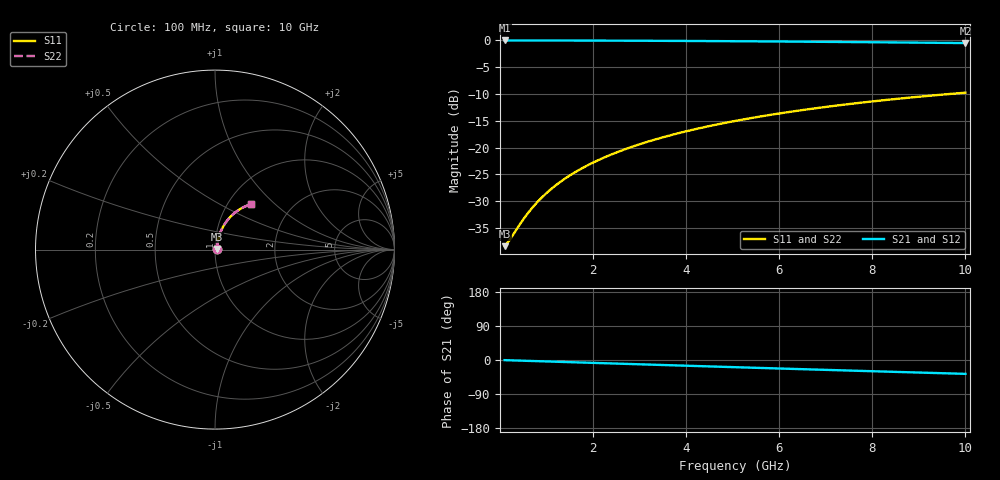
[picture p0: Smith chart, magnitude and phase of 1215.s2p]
# Hz S RI R 50.00
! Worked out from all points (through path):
!   100 points, 100 MHz to 10 GHz, reference 50 ohm
!   highest |S21| = -0.10 dB at 100 MHz (marker M1); lowest = -0.6 dB at 10 GHz (marker M2)
!   group delay of S21, straight-line fit = 10.2 ps
!   lowest |S11| = -38.3 dB at 100 MHz (marker M3), VSWR 1.02, Z = 51.2 + j0.36 ohm
!   |S11| at or under -10 dB: start of sweep to 9.726 GHz
!   |S22| runs from -38.3 to -9.8 dB; largest |S21 - S12| = 0
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1e8  0.0116 0.00352  0.9884 -0.00654  0.9884 -0.00654  0.0116 0.00352
2e8  0.0118 0.00703  0.9882 -0.0131  0.9882 -0.0131  0.0118 0.00703
4e8  0.0121 0.0141  0.9878 -0.0261  0.9878 -0.0261  0.0121 0.0141
5e8  0.0124 0.0176  0.9875 -0.0327  0.9875 -0.0327  0.0124 0.0176
6e8  0.0127 0.0211  0.9871 -0.0392  0.9871 -0.0392  0.0127 0.0211
7e8  0.013 0.0246  0.9867 -0.0457  0.9867 -0.0457  0.013 0.0246
9e8  0.0138 0.0315  0.9858 -0.0587  0.9858 -0.0587  0.0138 0.0315
1.1e9  0.0148 0.0385  0.9846 -0.0717  0.9846 -0.0717  0.0148 0.0385
1.3e9  0.0159 0.0454  0.9833 -0.0847  0.9833 -0.0847  0.0159 0.0454
1.5e9  0.0173 0.0523  0.9817 -0.0976  0.9817 -0.0976  0.0173 0.0523
1.8e9  0.0196 0.0625  0.9789 -0.1169  0.9789 -0.1169  0.0196 0.0625
2.1e9  0.0223 0.0726  0.9756 -0.1361  0.9756 -0.1361  0.0223 0.0726
2.5e9  0.0265 0.0859  0.9705 -0.1615  0.9705 -0.1615  0.0265 0.0859
2.9e9  0.0315 0.099  0.9646 -0.1866  0.9646 -0.1866  0.0315 0.099
3.4e9  0.0385 0.1148  0.9561 -0.2176  0.9561 -0.2176  0.0385 0.1148
4.2e9  0.0519 0.139  0.9399 -0.266  0.9399 -0.266  0.0519 0.139
5.1e9  0.0696 0.1641  0.9182 -0.3185  0.9182 -0.3185  0.0696 0.1641
5.9e9  0.0876 0.1844  0.8961 -0.3631  0.8961 -0.3631  0.0876 0.1844
6.7e9  0.1073 0.2026  0.8715 -0.4057  0.8715 -0.4057  0.1073 0.2026
7.5e9  0.1286 0.2186  0.8449 -0.446  0.8449 -0.446  0.1286 0.2186
8.4e9  0.1539 0.2337  0.8126 -0.4886  0.8126 -0.4886  0.1539 0.2337
1e10  0.2015 0.2529  0.7506 -0.5568  0.7506 -0.5568  0.2015 0.2529
